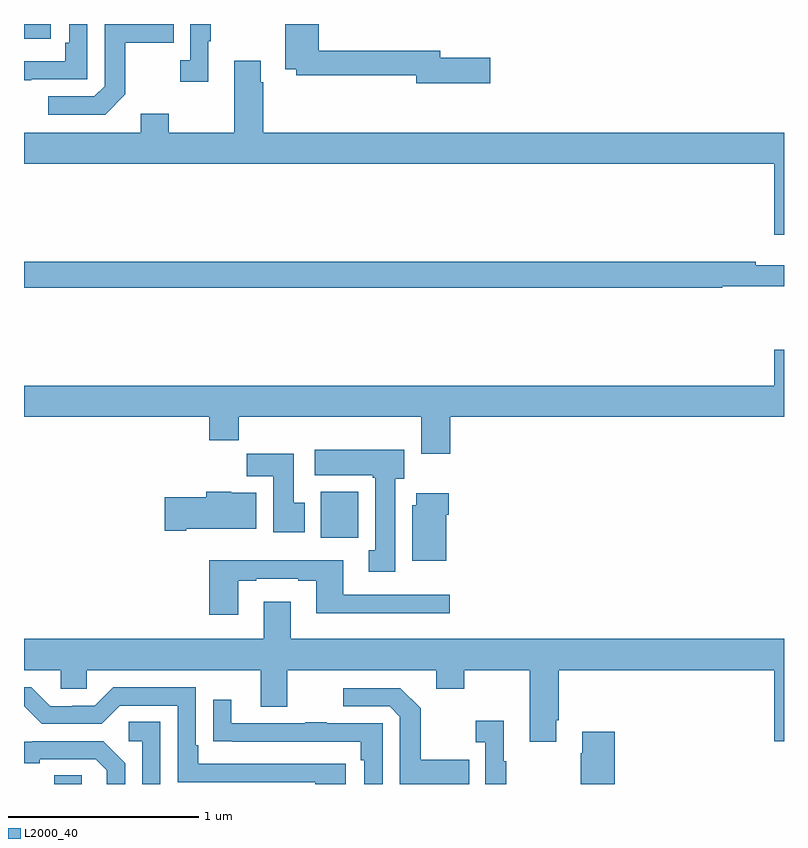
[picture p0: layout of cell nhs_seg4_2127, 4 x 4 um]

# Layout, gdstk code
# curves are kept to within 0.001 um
import gdstk
lib = gdstk.Library(unit=1e-6, precision=1e-09)
def R(c, l, rs):  # rectangles x0, y0, x1, y1
    for r in rs: c.add(gdstk.rectangle(r[:2], r[2:], *l))
def P(c, l, *ps):  # polygons
    for p in ps: c.add(gdstk.Polygon(p, *l))
L2000_40 = (2000, 40)

nhs_seg4_2127 = lib.new_cell('nhs_seg4_2127')
R(nhs_seg4_2127, L2000_40, [(221.159,782.9,221.304,782.945), (222.563,784.196,222.76,784.438), (221,786.822,221.14,786.9)])
P(nhs_seg4_2127, L2000_40, [(221.971,786.809),(221.983,786.809),(221.983,786.9),(221.874,786.9),(221.874,786.71),(221.823,786.71),(221.823,786.597),(221.971,786.597)],
  [(221.039,786.609),(221.334,786.609),(221.334,786.9),(221.238,786.9),(221.238,786.802),(221.218,786.802),(221.218,786.705),(221,786.705),(221,786.604),(221.039,786.604)],
  [(221.533,786.529),(221.533,786.802),(221.789,786.802),(221.789,786.9),(221.424,786.9),(221.424,786.573),(221.37,786.519),(221.127,786.519),(221.127,786.423),(221.427,786.423)],
  [(223.453,786.722),(223.192,786.722),(223.192,786.758),(222.551,786.758),(222.551,786.9),(222.376,786.9),(222.376,786.662),(222.432,786.662),(222.432,786.63),(223.064,786.63),(223.064,786.587),(223.453,786.587)],
  [(222.26,786.593),(222.247,786.593),(222.247,786.706),(222.107,786.706),(222.107,786.328),(221.763,786.328),(221.763,786.427),(221.615,786.427),(221.615,786.328),(221,786.328),(221,786.164),(224.948,786.164),(224.948,785.79),(225,785.79),(225,786.328),(222.26,786.328)],
  [(224.674,785.52),(225,785.52),(225,785.629),(224.852,785.629),(224.852,785.648),(221,785.648),(221,785.512),(224.674,785.512)],
  [(223.244,784.832),(225,784.832),(225,785.185),(224.948,785.185),(224.948,784.996),(221,784.996),(221,784.832),(221.975,784.832),(221.975,784.708),(222.131,784.708),(222.131,784.832),(223.091,784.832),(223.091,784.638),(223.244,784.638)],
  [(222.955,784.506),(223,784.506),(223,784.66),(222.531,784.66),(222.531,784.526),(222.835,784.526),(222.835,784.513),(222.848,784.513),(222.848,784.13),(222.815,784.13),(222.815,784.017),(222.955,784.017)],
  [(222.478,784.38),(222.421,784.38),(222.421,784.639),(222.172,784.639),(222.172,784.52),(222.311,784.52),(222.311,784.224),(222.478,784.224)],
  [(221.854,784.244),(222.223,784.244),(222.223,784.432),(222.09,784.432),(222.09,784.438),(221.96,784.438),(221.96,784.41),(221.742,784.41),(221.742,784.232),(221.854,784.232)],
  [(223.222,784.316),(223.235,784.316),(223.235,784.429),(223.064,784.429),(223.064,784.368),(223.043,784.368),(223.043,784.076),(223.222,784.076)],
  [(222.127,783.969),(222.223,783.969),(222.223,783.981),(222.443,783.981),(222.443,783.969),(222.539,783.969),(222.539,783.8),(223.24,783.8),(223.24,783.897),(222.679,783.897),(222.679,784.078),(221.975,784.078),(221.975,783.792),(222.127,783.792)],
  [(223.801,783.235),(223.814,783.235),(223.814,783.5),(224.948,783.5),(224.948,783.126),(225,783.126),(225,783.664),(222.403,783.664),(222.403,783.859),(222.263,783.859),(222.263,783.664),(221,783.664),(221,783.5),(221.193,783.5),(221.193,783.402),(221.331,783.402),(221.331,783.5),(222.245,783.5),(222.245,783.306),(222.385,783.306),(222.385,783.5),(223.169,783.5),(223.169,783.401),(223.317,783.401),(223.317,783.5),(223.661,783.5),(223.661,783.123),(223.801,783.123)],
  [(222.694,783.006),(221.917,783.006),(221.917,783.103),(221.904,783.103),(221.904,783.408),(221.469,783.408),(221.373,783.312),(221.255,783.312),(221.255,783.309),(221.139,783.309),(221.039,783.409),(221,783.409),(221,783.309),(221.094,783.216),(221.409,783.216),(221.505,783.312),(221.808,783.312),(221.808,782.91),(222.533,782.91),(222.533,782.9),(222.694,782.9)],
  [(223.343,783.027),(223.087,783.027),(223.087,783.299),(222.981,783.405),(222.681,783.405),(222.681,783.309),(222.924,783.309),(222.978,783.255),(222.978,782.9),(223.343,782.9)],
  [(222.888,783.219),(222.593,783.219),(222.593,783.224),(222.481,783.224),(222.481,783.219),(222.091,783.219),(222.091,783.343),(221.995,783.343),(221.995,783.124),(222.097,783.124),(222.097,783.123),(222.772,783.123),(222.772,783.026),(222.792,783.026),(222.792,782.9),(222.888,782.9)],
  [(223.537,783.019),(223.525,783.019),(223.525,783.232),(223.377,783.232),(223.377,783.119),(223.428,783.119),(223.428,782.9),(223.537,782.9)],
  [(221.718,783.227),(221.55,783.227),(221.55,783.126),(221.622,783.126),(221.622,782.9),(221.718,782.9)],
  [(224.11,783.175),(223.937,783.175),(223.937,783.062),(223.93,783.062),(223.93,782.9),(224.11,782.9)],
  [(221.532,783.01),(221.416,783.126),(221.044,783.126),(221.044,783.123),(221,783.123),(221,783.008),(221.083,783.008),(221.083,783.03),(221.378,783.03),(221.435,782.973),(221.435,782.9),(221.532,782.9)])

lib.write_gds('nhs_seg4_2127.gds')
